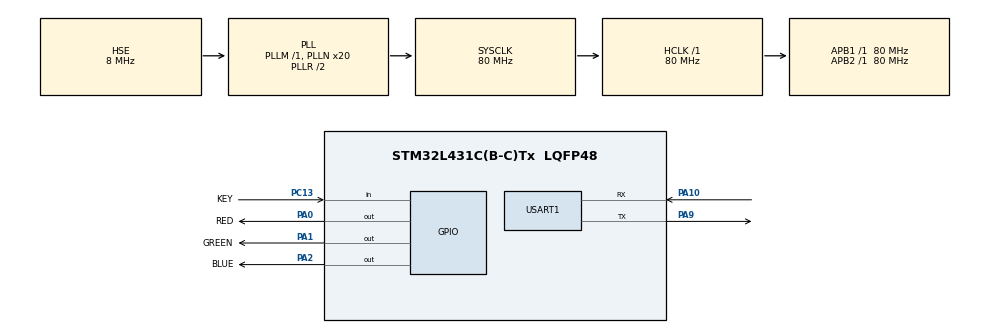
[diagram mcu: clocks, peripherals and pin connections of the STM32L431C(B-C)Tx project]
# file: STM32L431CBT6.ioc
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Mcu.Family=STM32L4
Mcu.Name=STM32L431C(B-C)Tx
Mcu.Package=LQFP48
NVIC.PriorityGroup=NVIC_PRIORITYGROUP_4
NVIC.RTC_Alarm_IRQn=true\:0\:0\:false\:false\:true\:true\:true\:true
NVIC.USART1_IRQn=true\:0\:0\:false\:false\:true\:true\:true\:true
PA0.GPIO_Label=RED
PA0.GPIO_PuPd=GPIO_PULLUP
PA0.PinState=GPIO_PIN_SET
PA0.Signal=GPIO_Output
PA1.GPIO_Label=GREEN
PA1.GPIO_PuPd=GPIO_PULLUP
PA1.PinState=GPIO_PIN_SET
PA1.Signal=GPIO_Output
PA10.Mode=Asynchronous
PA10.Signal=USART1_RX
PA13\ (JTMS-SWDIO).Mode=Serial_Wire
PA13\ (JTMS-SWDIO).Signal=SYS_JTMS-SWDIO
PA14\ (JTCK-SWCLK).Mode=Serial_Wire
PA14\ (JTCK-SWCLK).Signal=SYS_JTCK-SWCLK
PA2.GPIO_Label=BLUE
PA2.GPIO_PuPd=GPIO_PULLUP
PA2.PinState=GPIO_PIN_SET
PA2.Signal=GPIO_Output
PA9.Mode=Asynchronous
PA9.Signal=USART1_TX
PC13.GPIO_Label=KEY
PC13.GPIO_PuPd=GPIO_PULLUP
PC13.Signal=GPIO_Input
PC14-OSC32_IN\ (PC14).Mode=LSE-External-Oscillator
PC14-OSC32_IN\ (PC14).Signal=RCC_OSC32_IN
PC15-OSC32_OUT\ (PC15).Mode=LSE-External-Oscillator
PC15-OSC32_OUT\ (PC15).Signal=RCC_OSC32_OUT
PH0-OSC_IN\ (PH0).Mode=HSE-External-Oscillator
PH0-OSC_IN\ (PH0).Signal=RCC_OSC_IN
PH1-OSC_OUT\ (PH1).Mode=HSE-External-Oscillator
PH1-OSC_OUT\ (PH1).Signal=RCC_OSC_OUT
ProjectManager.HeapSize=0x400
ProjectManager.StackSize=0x400
ProjectManager.TargetToolchain=MDK-ARM V5
RCC.ADCFreq_Value=32000000
RCC.AHBFreq_Value=80000000
RCC.APB1Freq_Value=80000000
RCC.APB1TimFreq_Value=80000000
RCC.APB2Freq_Value=80000000
RCC.APB2TimFreq_Value=80000000
RCC.CortexFreq_Value=80000000
RCC.HCLKFreq_Value=80000000
RCC.HSI48_VALUE=48000000
RCC.HSI_VALUE=16000000
RCC.MSI_VALUE=4000000
RCC.PLLN=20
RCC.PLLSourceVirtual=RCC_PLLSOURCE_HSE
RCC.RTCClockSelection=RCC_RTCCLKSOURCE_LSE
RCC.SYSCLKFreq_VALUE=80000000
RCC.SYSCLKSource=RCC_SYSCLKSOURCE_PLLCLK
RCC.VCOOutputFreq_Value=160000000
RTC.Alarm-Alarm\ A=RTC_ALARM_A
RTC.Seconds_A-Alarm\ A=5
USART1.VirtualMode-Asynchronous=VM_ASYNC
VP_RTC_VS_RTC_Activate.Mode=RTC_Enabled
VP_RTC_VS_RTC_Alarm_A_Intern.Mode=Alarm A
VP_RTC_VS_RTC_Calendar.Mode=RTC_Calendar
board=custom

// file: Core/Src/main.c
/* USER CODE BEGIN Header */
/**
  ******************************************************************************
  * @file           : main.c
  * @brief          : Main program body
  ******************************************************************************
  * @attention
  *
  * Copyright (c) 2023 STMicroelectronics.
  * All rights reserved.
  *
  * This software is licensed under terms that can be found in the LICENSE file
  * in the root directory of this software component.
  * If no LICENSE file comes with this software, it is provided AS-IS.
  *
  ******************************************************************************
  */
/* USER CODE END Header */
#include "main.h"
#include "rtc.h"
#include "usart.h"
#include "gpio.h"

/* USER CODE BEGIN Includes */
#include "BSP_GPIO.h"
#include "BSP_USART.h"
/* USER CODE END Includes */

void SystemClock_Config(void);

/* USER CODE BEGIN 0 */

void HAL_RTC_AlarmAEventCallback(RTC_HandleTypeDef *hrtc)
{
  printf("HAL_RTC_AlarmAEventCallback\r\n");
	LED_G_TogglePin;
}

/* USER CODE END 0 */

int main(void)
{

  /* USER CODE BEGIN 1 */
	RTC_TimeTypeDef RTC_TimeStruct;
  RTC_DateTypeDef RTC_DateStruct;
	uint8_t t=0;
  /* USER CODE END 1 */

  /* MCU Configuration--------------------------------------------------------*/

  /* Reset of all peripherals, Initializes the Flash interface and the Systick. */
  HAL_Init();

  /* Configure the system clock */
  SystemClock_Config();

  /* Initialize all configured peripherals */
  MX_GPIO_Init();
  MX_USART1_UART_Init();
  MX_RTC_Init();
  /* USER CODE BEGIN 2 */
	HAL_GPIO_WritePin(RED_GPIO_Port,RED_Pin,GPIO_PIN_RESET);
	HAL_Delay(500);
  if (HAL_RTC_Init(&hrtc) != HAL_OK)
  {
    /* Initialization Error */
    Error_Handler();
  }

	HAL_GPIO_WritePin(RED_GPIO_Port,RED_Pin,GPIO_PIN_SET);
	/* Clear all related wakeup flags */
	__HAL_PWR_CLEAR_FLAG(PWR_FLAG_WU);

	/* Enter the Standby mode */
	HAL_PWR_EnterSTANDBYMode();

  /* USER CODE END 2 */

  /* Infinite loop */
  /* USER CODE BEGIN WHILE */
  while (1)
  {
		t++;
		if((t%10)==0)	//每100ms更新一次显示数据
		{
      HAL_RTC_GetTime(&hrtc,&RTC_TimeStruct,RTC_FORMAT_BIN);
			printf("Time:%02d:%02d:%02d\r\n",RTC_TimeStruct.Hours,RTC_TimeStruct.Minutes,RTC_TimeStruct.Seconds);

			HAL_RTC_GetDate(&hrtc,&RTC_DateStruct,RTC_FORMAT_BIN);
			printf("Date:20%02d-%02d-%02d\r\n",RTC_DateStruct.Year,RTC_DateStruct.Month,RTC_DateStruct.Date);

			printf("Week:%d\r\n\r\n",RTC_DateStruct.WeekDay);

		}
		if((t%20)==0)LED_R_TogglePin;	//每200ms,翻转一次LED0
			HAL_Delay(10);
    /* USER CODE END WHILE */

  }
}

void SystemClock_Config(void)
{
  RCC_OscInitTypeDef RCC_OscInitStruct = {0};
  RCC_ClkInitTypeDef RCC_ClkInitStruct = {0};

  /** Configure the main internal regulator output voltage
  */
  if (HAL_PWREx_ControlVoltageScaling(PWR_REGULATOR_VOLTAGE_SCALE1) != HAL_OK)
  {
    Error_Handler();
  }

  /** Configure LSE Drive Capability
  */
  HAL_PWR_EnableBkUpAccess();
  __HAL_RCC_LSEDRIVE_CONFIG(RCC_LSEDRIVE_LOW);

  /** Initializes the RCC Oscillators according to the specified parameters
  * in the RCC_OscInitTypeDef structure.
  */
  RCC_OscInitStruct.OscillatorType = RCC_OSCILLATORTYPE_HSE|RCC_OSCILLATORTYPE_LSE;
  RCC_OscInitStruct.HSEState = RCC_HSE_ON;
  RCC_OscInitStruct.LSEState = RCC_LSE_ON;
  RCC_OscInitStruct.PLL.PLLState = RCC_PLL_ON;
  RCC_OscInitStruct.PLL.PLLSource = RCC_PLLSOURCE_HSE;
  RCC_OscInitStruct.PLL.PLLM = 1;
  RCC_OscInitStruct.PLL.PLLN = 20;
  RCC_OscInitStruct.PLL.PLLP = RCC_PLLP_DIV7;
  RCC_OscInitStruct.PLL.PLLQ = RCC_PLLQ_DIV2;
  RCC_OscInitStruct.PLL.PLLR = RCC_PLLR_DIV2;
  if (HAL_RCC_OscConfig(&RCC_OscInitStruct) != HAL_OK)
  {
    Error_Handler();
  }

  /** Initializes the CPU, AHB and APB buses clocks
  */
  RCC_ClkInitStruct.ClockType = RCC_CLOCKTYPE_HCLK|RCC_CLOCKTYPE_SYSCLK
                              |RCC_CLOCKTYPE_PCLK1|RCC_CLOCKTYPE_PCLK2;
  RCC_ClkInitStruct.SYSCLKSource = RCC_SYSCLKSOURCE_PLLCLK;
  RCC_ClkInitStruct.AHBCLKDivider = RCC_SYSCLK_DIV1;
  RCC_ClkInitStruct.APB1CLKDivider = RCC_HCLK_DIV1;
  RCC_ClkInitStruct.APB2CLKDivider = RCC_HCLK_DIV1;

  if (HAL_RCC_ClockConfig(&RCC_ClkInitStruct, FLASH_LATENCY_4) != HAL_OK)
  {
    Error_Handler();
  }
}

void Error_Handler(void)
{
  __disable_irq();
  while (1)
  {
  }
}
